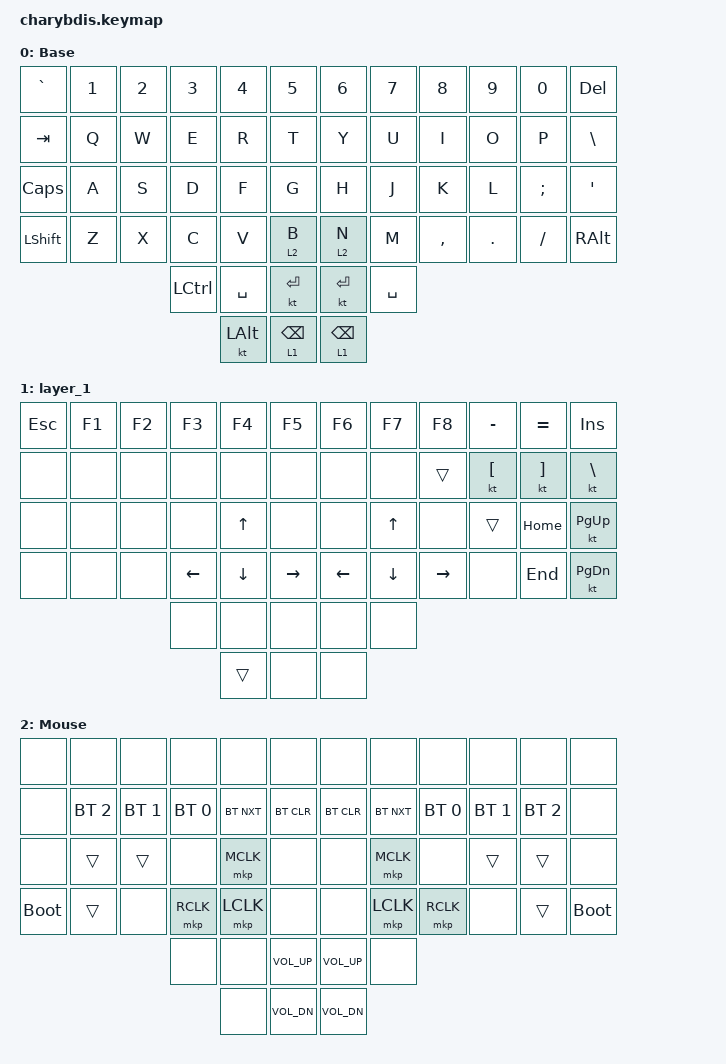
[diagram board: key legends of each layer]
#include <behaviors.dtsi>
#include <dt-bindings/zmk/bt.h>
#include <dt-bindings/zmk/keys.h>
#include <dt-bindings/zmk/keys.h>
#include <dt-bindings/zmk/mouse.h>

&lt {
    tapping-term-ms = <200>;
    flavor = "balanced";
    quick-tap-ms = <150>;
};

/ {
    combos {
        compatible = "zmk,combos";

        raltf4 {
            bindings = <&kp RA(F4)>;
            key-positions = <47 4>;
            layers = <0>;
        };

        laltf4 {
            bindings = <&kp LA(F4)>;
            key-positions = <4 53>;
        };
    };

    keymap {
        compatible = "zmk,keymap";

        Base {
            bindings = <
&kp GRAVE       &kp N1  &kp N2  &kp N3            &kp N4        &kp N5             &kp N6           &kp N7     &kp N8     &kp N9   &kp N0     &kp DELETE
&kp TAB         &kp Q   &kp W   &kp E             &kp R         &kp T              &kp Y            &kp U      &kp I      &kp O    &kp P      &kp BACKSLASH
&kp CAPS        &kp A   &kp S   &kp D             &kp F         &kp G              &kp H            &kp J      &kp K      &kp L    &kp SEMI   &kp APOS
&kp LEFT_SHIFT  &kp Z   &kp X   &kp C             &kp V         &lt 2 B            &lt 2 N          &kp M      &kp COMMA  &kp DOT  &kp SLASH  &kp RIGHT_ALT
                                &kp LEFT_CONTROL  &kp SPACE     &kt ENTER          &kt ENTER        &kp SPACE
                                                  &kt LEFT_ALT  &lt 1 BACKSPACE    &lt 1 BACKSPACE
            >;

            trackball-bindings = <&tmv_coarse>;
        };

        layer_1 {
            bindings = <
&kp ESC  &kp F1  &kp F2  &kp F3    &kp F4        &kp F5             &kp F6    &kp F7        &kp F8     &kp MINUS         &kp EQUAL          &kp INSERT
&none    &none   &none   &none     &none         &none              &none     &none         &trans     &kt LEFT_BRACKET  &kt RIGHT_BRACKET  &kt BACKSLASH
&none    &none   &none   &none     &kp UP_ARROW  &none              &none     &kp UP_ARROW  &none      &trans            &kp HOME           &kt PAGE_UP
&none    &none   &none   &kp LEFT  &kp DOWN      &kp RIGHT_ARROW    &kp LEFT  &kp DOWN      &kp RIGHT  &none             &kp END            &kt PAGE_DOWN
                         &none     &none         &none              &none     &none
                                   &trans        &none              &none
            >;
        };

        Mouse {
            bindings = <
&none        &none         &none         &none         &none       &none              &none            &none       &none         &none         &none         &none
&none        &bt BT_SEL 2  &bt BT_SEL 1  &bt BT_SEL 0  &bt BT_NXT  &bt BT_CLR         &bt BT_CLR       &bt BT_NXT  &bt BT_SEL 0  &bt BT_SEL 1  &bt BT_SEL 2  &none
&none        &trans        &trans        &none         &mkp MCLK   &none              &none            &mkp MCLK   &none         &trans        &trans        &none
&bootloader  &trans        &none         &mkp RCLK     &mkp LCLK   &none              &none            &mkp LCLK   &mkp RCLK     &none         &trans        &bootloader
                                         &none         &none       &kp C_VOLUME_UP    &kp C_VOLUME_UP  &none
                                                       &none       &kp C_VOL_DN       &kp C_VOL_DN
            >;
        };
    };
};
